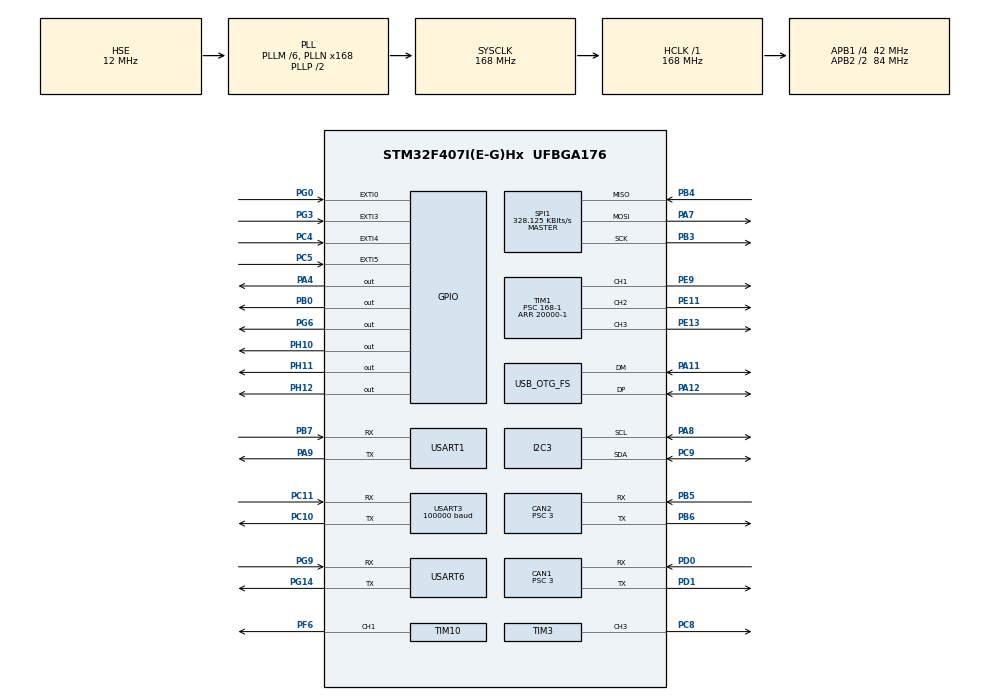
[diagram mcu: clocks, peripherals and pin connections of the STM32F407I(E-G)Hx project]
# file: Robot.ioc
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CAN1.BS1=CAN_BS1_10TQ
CAN1.BS2=CAN_BS2_3TQ
CAN1.CalculateBaudRate=1000000
CAN1.CalculateTimeBit=1000
CAN1.CalculateTimeQuantum=71.42857142857143
CAN1.Prescaler=3
CAN1.SJW=CAN_SJW_1TQ
CAN2.BS1=CAN_BS1_10TQ
CAN2.BS2=CAN_BS2_3TQ
CAN2.CalculateBaudRate=1000000
CAN2.CalculateTimeBit=1000
CAN2.CalculateTimeQuantum=71.42857142857143
CAN2.Prescaler=3
Dma.Request0=SPI1_RX
Dma.Request1=SPI1_TX
Dma.Request2=USART3_RX
Dma.Request3=USART6_RX
Dma.Request4=USART6_TX
Dma.Request5=USART1_TX
Dma.Request6=USART1_RX
Dma.SPI1_RX.0.Direction=DMA_PERIPH_TO_MEMORY
Dma.SPI1_RX.0.FIFOMode=DMA_FIFOMODE_DISABLE
Dma.SPI1_RX.0.Instance=DMA2_Stream2
Dma.SPI1_RX.0.MemDataAlignment=DMA_MDATAALIGN_BYTE
Dma.SPI1_RX.0.MemInc=DMA_MINC_ENABLE
Dma.SPI1_RX.0.Mode=DMA_NORMAL
Dma.SPI1_RX.0.PeriphDataAlignment=DMA_PDATAALIGN_BYTE
Dma.SPI1_RX.0.PeriphInc=DMA_PINC_DISABLE
Dma.SPI1_RX.0.Priority=DMA_PRIORITY_VERY_HIGH
Dma.SPI1_TX.1.Direction=DMA_MEMORY_TO_PERIPH
Dma.SPI1_TX.1.FIFOMode=DMA_FIFOMODE_DISABLE
Dma.SPI1_TX.1.Instance=DMA2_Stream3
Dma.SPI1_TX.1.MemDataAlignment=DMA_MDATAALIGN_BYTE
Dma.SPI1_TX.1.MemInc=DMA_MINC_ENABLE
Dma.SPI1_TX.1.Mode=DMA_NORMAL
Dma.SPI1_TX.1.PeriphDataAlignment=DMA_PDATAALIGN_BYTE
Dma.SPI1_TX.1.PeriphInc=DMA_PINC_DISABLE
Dma.SPI1_TX.1.Priority=DMA_PRIORITY_HIGH
Dma.USART1_RX.6.Direction=DMA_PERIPH_TO_MEMORY
Dma.USART1_RX.6.FIFOMode=DMA_FIFOMODE_DISABLE
Dma.USART1_RX.6.Instance=DMA2_Stream5
Dma.USART1_RX.6.MemDataAlignment=DMA_MDATAALIGN_BYTE
Dma.USART1_RX.6.MemInc=DMA_MINC_ENABLE
Dma.USART1_RX.6.Mode=DMA_NORMAL
Dma.USART1_RX.6.PeriphDataAlignment=DMA_PDATAALIGN_BYTE
Dma.USART1_RX.6.PeriphInc=DMA_PINC_DISABLE
Dma.USART1_RX.6.Priority=DMA_PRIORITY_HIGH
Dma.USART1_TX.5.Direction=DMA_MEMORY_TO_PERIPH
Dma.USART1_TX.5.FIFOMode=DMA_FIFOMODE_DISABLE
Dma.USART1_TX.5.Instance=DMA2_Stream7
Dma.USART1_TX.5.MemDataAlignment=DMA_MDATAALIGN_BYTE
Dma.USART1_TX.5.MemInc=DMA_MINC_ENABLE
Dma.USART1_TX.5.Mode=DMA_NORMAL
Dma.USART1_TX.5.PeriphDataAlignment=DMA_PDATAALIGN_BYTE
Dma.USART1_TX.5.PeriphInc=DMA_PINC_DISABLE
Dma.USART1_TX.5.Priority=DMA_PRIORITY_VERY_HIGH
Dma.USART3_RX.2.Direction=DMA_PERIPH_TO_MEMORY
Dma.USART3_RX.2.FIFOMode=DMA_FIFOMODE_DISABLE
Dma.USART3_RX.2.Instance=DMA1_Stream1
Dma.USART3_RX.2.MemDataAlignment=DMA_MDATAALIGN_BYTE
Dma.USART3_RX.2.MemInc=DMA_MINC_ENABLE
Dma.USART3_RX.2.Mode=DMA_NORMAL
Dma.USART3_RX.2.PeriphDataAlignment=DMA_PDATAALIGN_BYTE
Dma.USART3_RX.2.PeriphInc=DMA_PINC_DISABLE
Dma.USART3_RX.2.Priority=DMA_PRIORITY_LOW
Dma.USART6_RX.3.Direction=DMA_PERIPH_TO_MEMORY
Dma.USART6_RX.3.FIFOMode=DMA_FIFOMODE_DISABLE
Dma.USART6_RX.3.Instance=DMA2_Stream1
Dma.USART6_RX.3.MemDataAlignment=DMA_MDATAALIGN_BYTE
Dma.USART6_RX.3.MemInc=DMA_MINC_ENABLE
Dma.USART6_RX.3.Mode=DMA_NORMAL
Dma.USART6_RX.3.PeriphDataAlignment=DMA_PDATAALIGN_BYTE
Dma.USART6_RX.3.PeriphInc=DMA_PINC_DISABLE
Dma.USART6_RX.3.Priority=DMA_PRIORITY_HIGH
Dma.USART6_TX.4.Direction=DMA_MEMORY_TO_PERIPH
Dma.USART6_TX.4.FIFOMode=DMA_FIFOMODE_DISABLE
Dma.USART6_TX.4.Instance=DMA2_Stream6
Dma.USART6_TX.4.MemDataAlignment=DMA_MDATAALIGN_BYTE
Dma.USART6_TX.4.MemInc=DMA_MINC_ENABLE
Dma.USART6_TX.4.Mode=DMA_NORMAL
Dma.USART6_TX.4.PeriphDataAlignment=DMA_PDATAALIGN_BYTE
Dma.USART6_TX.4.PeriphInc=DMA_PINC_DISABLE
Dma.USART6_TX.4.Priority=DMA_PRIORITY_VERY_HIGH
FREERTOS.INCLUDE_eTaskGetState=1
FREERTOS.INCLUDE_pcTaskGetTaskName=1
FREERTOS.INCLUDE_uxTaskGetStackHighWaterMark=1
FREERTOS.INCLUDE_vTaskCleanUpResources=1
FREERTOS.INCLUDE_vTaskDelayUntil=1
FREERTOS.INCLUDE_xEventGroupSetBitFromISR=1
FREERTOS.INCLUDE_xQueueGetMutexHolder=1
FREERTOS.INCLUDE_xSemaphoreGetMutexHolder=1
FREERTOS.INCLUDE_xTaskAbortDelay=1
FREERTOS.INCLUDE_xTaskGetCurrentTaskHandle=1
FREERTOS.INCLUDE_xTaskGetHandle=1
FREERTOS.INCLUDE_xTimerPendFunctionCall=1
FREERTOS.Tasks01=INS_TASK,3,512,INS_Task,As weak,NULL,Dynamic,NULL,NULL;LED_TASK,0,128,LED_Task,As weak,NULL,Dynamic,NULL,NULL;Gimbal_TASK,2,512,Gimbal_Task,As weak,NULL,Dynamic,NULL,NULL;SWITCH_TASK,0,128,Switch_Task,As weak,NULL,Dynamic,NULL,NULL
FREERTOS.configTOTAL_HEAP_SIZE=24576
FREERTOS.configUSE_TIMERS=1
I2C3.I2C_Mode=I2C_Fast
Mcu.Family=STM32F4
Mcu.Name=STM32F407I(E-G)Hx
Mcu.Package=UFBGA176
NVIC.CAN1_RX0_IRQn=true\:5\:0\:false\:false\:true\:true\:true\:true\:true
NVIC.CAN2_RX0_IRQn=true\:5\:0\:false\:false\:true\:true\:true\:true\:true
NVIC.DMA1_Stream1_IRQn=true\:5\:0\:false\:false\:true\:true\:false\:true\:true
NVIC.DMA2_Stream1_IRQn=true\:5\:0\:false\:false\:true\:true\:false\:true\:true
NVIC.DMA2_Stream2_IRQn=true\:5\:0\:false\:false\:true\:true\:false\:true\:true
NVIC.DMA2_Stream3_IRQn=true\:5\:0\:false\:false\:true\:true\:false\:true\:true
NVIC.DMA2_Stream5_IRQn=true\:5\:0\:false\:false\:true\:true\:false\:true\:true
NVIC.DMA2_Stream6_IRQn=true\:5\:0\:false\:false\:true\:true\:false\:true\:true
NVIC.DMA2_Stream7_IRQn=true\:5\:0\:false\:false\:true\:true\:false\:true\:true
NVIC.EXTI0_IRQn=true\:5\:0\:false\:false\:true\:true\:true\:true\:true
NVIC.EXTI3_IRQn=true\:5\:0\:false\:false\:true\:true\:true\:true\:true
NVIC.EXTI4_IRQn=true\:5\:0\:false\:false\:true\:true\:true\:true\:true
NVIC.EXTI9_5_IRQn=true\:5\:0\:false\:false\:true\:true\:true\:true\:true
NVIC.OTG_FS_IRQn=true\:5\:0\:false\:false\:true\:true\:false\:true\:true
NVIC.PriorityGroup=NVIC_PRIORITYGROUP_4
NVIC.TIM2_IRQn=true\:15\:0\:false\:false\:true\:false\:false\:true\:true
NVIC.TIM8_TRG_COM_TIM14_IRQn=true\:5\:0\:false\:false\:true\:true\:true\:true\:true
NVIC.TimeBase=TIM2_IRQn
NVIC.TimeBaseIP=TIM2
NVIC.USART1_IRQn=true\:5\:0\:false\:false\:true\:true\:true\:true\:true
NVIC.USART3_IRQn=true\:5\:0\:false\:false\:true\:true\:true\:true\:true
NVIC.USART6_IRQn=true\:5\:0\:false\:false\:true\:true\:true\:true\:true
PA11.Mode=Device_Only
PA11.Signal=USB_OTG_FS_DM
PA12.Mode=Device_Only
PA12.Signal=USB_OTG_FS_DP
PA13.Mode=Serial_Wire
PA13.Signal=SYS_JTMS-SWDIO
PA14.Mode=Serial_Wire
PA14.Signal=SYS_JTCK-SWCLK
PA4.GPIO_PuPd=GPIO_PULLUP
PA4.GPIO_Speed=GPIO_SPEED_FREQ_HIGH
PA4.PinState=GPIO_PIN_SET
PA4.Signal=GPIO_Output
PA7.GPIO_Mode=GPIO_MODE_AF_PP
PA7.GPIO_PuPd=GPIO_PULLUP
PA7.GPIO_Speed=GPIO_SPEED_FREQ_VERY_HIGH
PA7.Mode=Full_Duplex_Master
PA7.Signal=SPI1_MOSI
PA8.GPIO_Mode=GPIO_MODE_AF_OD
PA8.GPIO_Pu=GPIO_PULLUP
PA8.GPIO_Speed=GPIO_SPEED_FREQ_VERY_HIGH
PA8.Mode=I2C
PA8.Signal=I2C3_SCL
PA9.Mode=Asynchronous
PA9.Signal=USART1_TX
PB0.GPIO_ModeDefaultOutputPP=GPIO_MODE_OUTPUT_PP
PB0.GPIO_PuPd=GPIO_PULLUP
PB0.GPIO_Speed=GPIO_SPEED_FREQ_HIGH
PB0.PinState=GPIO_PIN_SET
PB0.Signal=GPIO_Output
PB14.GPIO_ModeDefaultPP=GPIO_MODE_AF_PP
PB14.GPIO_PuPd=GPIO_PULLUP
PB14.GPIO_Speed=GPIO_SPEED_FREQ_VERY_HIGH
PB14.Signal=S_TIM12_CH1
PB15.GPIO_ModeDefaultPP=GPIO_MODE_AF_PP
PB15.GPIO_PuPd=GPIO_PULLUP
PB15.GPIO_Speed=GPIO_SPEED_FREQ_VERY_HIGH
PB15.Signal=S_TIM12_CH2
PB3.GPIO_Mode=GPIO_MODE_AF_PP
PB3.GPIO_PuPd=GPIO_PULLUP
PB3.GPIO_Speed=GPIO_SPEED_FREQ_VERY_HIGH
PB3.Mode=Full_Duplex_Master
PB3.Signal=SPI1_SCK
PB4.GPIO_Mode=GPIO_MODE_AF_PP
PB4.GPIO_PuPd=GPIO_PULLUP
PB4.GPIO_Speed=GPIO_SPEED_FREQ_VERY_HIGH
PB4.Mode=Full_Duplex_Master
PB4.Signal=SPI1_MISO
PB5.Mode=CAN_Activate
PB5.Signal=CAN2_RX
PB6.Mode=CAN_Activate
PB6.Signal=CAN2_TX
PB7.Mode=Asynchronous
PB7.Signal=USART1_RX
PC10.GPIO_ModeDefaultPP=GPIO_MODE_AF_PP
PC10.GPIO_PuPd=GPIO_PULLUP
PC10.GPIO_Speed=GPIO_SPEED_FREQ_VERY_HIGH
PC10.Mode=Asynchronous
PC10.Signal=USART3_TX
PC11.GPIO_ModeDefaultPP=GPIO_MODE_AF_PP
PC11.GPIO_PuPd=GPIO_PULLUP
PC11.GPIO_Speed=GPIO_SPEED_FREQ_VERY_HIGH
PC11.Mode=Asynchronous
PC11.Signal=USART3_RX
PC4.GPIO_ModeDefaultEXTI=GPIO_MODE_IT_FALLING
PC4.GPIO_PuPd=GPIO_PULLUP
PC4.Signal=GPXTI4
PC5.GPIO_ModeDefaultEXTI=GPIO_MODE_IT_FALLING
PC5.GPIO_PuPd=GPIO_PULLUP
PC5.Signal=GPXTI5
PC8.GPIO_ModeDefaultPP=GPIO_MODE_AF_PP
PC8.GPIO_PuPd=GPIO_PULLUP
PC8.GPIO_Speed=GPIO_SPEED_FREQ_VERY_HIGH
PC8.Signal=S_TIM3_CH3
PC9.GPIO_Mode=GPIO_MODE_AF_OD
PC9.GPIO_Pu=GPIO_PULLUP
PC9.GPIO_Speed=GPIO_SPEED_FREQ_VERY_HIGH
PC9.Mode=I2C
PC9.Signal=I2C3_SDA
PD0.Mode=CAN_Activate
PD0.Signal=CAN1_RX
PD1.Mode=CAN_Activate
PD1.Signal=CAN1_TX
PE11.GPIO_ModeDefaultPP=GPIO_MODE_AF_PP
PE11.GPIO_PuPd=GPIO_PULLUP
PE11.GPIO_Speed=GPIO_SPEED_FREQ_VERY_HIGH
PE11.Signal=S_TIM1_CH2
PE13.GPIO_PuPd=GPIO_PULLUP
PE13.GPIO_Speed=GPIO_SPEED_FREQ_VERY_HIGH
PE13.Signal=S_TIM1_CH3
PE9.GPIO_ModeDefaultPP=GPIO_MODE_AF_PP
PE9.GPIO_PuPd=GPIO_PULLUP
PE9.GPIO_Speed=GPIO_SPEED_FREQ_VERY_HIGH
PE9.Signal=S_TIM1_CH1
PF6.GPIO_PuPd=GPIO_PULLUP
PF6.GPIO_Speed=GPIO_SPEED_FREQ_VERY_HIGH
PF6.Signal=S_TIM10_CH1
PG0.GPIO_ModeDefaultEXTI=GPIO_MODE_IT_FALLING
PG0.GPIO_PuPd=GPIO_PULLUP
PG0.Signal=GPXTI0
PG14.GPIO_ModeDefaultPP=GPIO_MODE_AF_PP
PG14.GPIO_PuPd=GPIO_PULLUP
PG14.GPIO_Speed=GPIO_SPEED_FREQ_VERY_HIGH
PG14.Mode=Asynchronous
PG14.Signal=USART6_TX
PG3.GPIO_ModeDefaultEXTI=GPIO_MODE_IT_FALLING
PG3.GPIO_PuPd=GPIO_PULLUP
PG3.Signal=GPXTI3
PG6.GPIO_ModeDefaultOutputPP=GPIO_MODE_OUTPUT_PP
PG6.GPIO_PuPd=GPIO_PULLUP
PG6.GPIO_Speed=GPIO_SPEED_FREQ_HIGH
PG6.PinState=GPIO_PIN_SET
PG6.Signal=GPIO_Output
PG9.GPIO_ModeDefaultPP=GPIO_MODE_AF_PP
PG9.GPIO_PuPd=GPIO_PULLUP
PG9.GPIO_Speed=GPIO_SPEED_FREQ_VERY_HIGH
PG9.Mode=Asynchronous
PG9.Signal=USART6_RX
PH0-OSC_IN.Mode=HSE-External-Oscillator
PH0-OSC_IN.Signal=RCC_OSC_IN
PH1-OSC_OUT.Mode=HSE-External-Oscillator
PH1-OSC_OUT.Signal=RCC_OSC_OUT
PH10.GPIO_ModeDefaultOutputPP=GPIO_MODE_OUTPUT_PP
PH10.GPIO_PuPd=GPIO_PULLDOWN
PH10.GPIO_Speed=GPIO_SPEED_FREQ_VERY_HIGH
PH10.PinState=GPIO_PIN_RESET
PH10.Signal=GPIO_Output
PH11.GPIO_ModeDefaultOutputPP=GPIO_MODE_OUTPUT_PP
PH11.GPIO_PuPd=GPIO_PULLDOWN
PH11.GPIO_Speed=GPIO_SPEED_FREQ_VERY_HIGH
PH11.PinState=GPIO_PIN_RESET
PH11.Signal=GPIO_Output
PH12.GPIO_ModeDefaultOutputPP=GPIO_MODE_OUTPUT_PP
PH12.GPIO_PuPd=GPIO_PULLDOWN
PH12.GPIO_Speed=GPIO_SPEED_FREQ_VERY_HIGH
PH12.PinState=GPIO_PIN_RESET
PH12.Signal=GPIO_Output
ProjectManager.HeapSize=0x2000
ProjectManager.StackSize=0x2000
ProjectManager.TargetToolchain=MDK-ARM V5
RCC.48MHZClocksFreq_Value=48000000
RCC.AHBFreq_Value=168000000
RCC.APB1CLKDivider=RCC_HCLK_DIV4
RCC.APB1Freq_Value=42000000
RCC.APB1TimFreq_Value=84000000
RCC.APB2CLKDivider=RCC_HCLK_DIV2
RCC.APB2Freq_Value=84000000
RCC.APB2TimFreq_Value=168000000
RCC.CortexFreq_Value=168000000
RCC.HCLKFreq_Value=168000000
RCC.HSE_VALUE=12000000
RCC.HSI_VALUE=16000000
RCC.LSE_VALUE=32768
RCC.PLLM=6
RCC.PLLN=168
RCC.PLLQ=7
RCC.SYSCLKFreq_VALUE=168000000
RCC.SYSCLKSource=RCC_SYSCLKSOURCE_PLLCLK
RCC.VCOOutputFreq_Value=336000000
SH.S_TIM10_CH1.0=TIM10_CH1,PWM Generation1 CH1
SH.S_TIM12_CH1.0=TIM12_CH1
SH.S_TIM12_CH2.0=TIM12_CH2
SH.S_TIM1_CH1.0=TIM1_CH1,PWM Generation1 CH1
SH.S_TIM1_CH2.0=TIM1_CH2,PWM Generation2 CH2
SH.S_TIM1_CH3.0=TIM1_CH3,PWM Generation3 CH3
SH.S_TIM3_CH3.0=TIM3_CH3,PWM Generation3 CH3
SPI1.BaudRatePrescaler=SPI_BAUDRATEPRESCALER_256
SPI1.CLKPhase=SPI_PHASE_2EDGE
SPI1.CLKPolarity=SPI_POLARITY_HIGH
SPI1.CalculateBaudRate=328.125 KBits/s
SPI1.Direction=SPI_DIRECTION_2LINES
SPI1.Mode=SPI_MODE_MASTER
SPI1.VirtualType=VM_MASTER
TIM1.AutoReloadPreload=TIM_AUTORELOAD_PRELOAD_DISABLE
TIM1.Channel-PWM\ Generation1\ CH1=TIM_CHANNEL_1
TIM1.Channel-PWM\ Generation2\ CH2=TIM_CHANNEL_2
TIM1.Channel-PWM\ Generation3\ CH3=TIM_CHANNEL_3
TIM1.Period=20000-1
TIM1.Prescaler=168-1
TIM10.Channel=TIM_CHANNEL_1
TIM10.Period=4999
TIM14.Period=2000-1
TIM14.Prescaler=84-1
TIM3.Channel-PWM\ Generation3\ CH3=TIM_CHANNEL_3
TIM3.Period=1000-1
TIM3.Prescaler=84-1
USART1.VirtualMode=VM_ASYNC
USART3.BaudRate=100000
USART3.VirtualMode=VM_ASYNC
USART6.VirtualMode=VM_ASYNC
USB_DEVICE.CLASS_NAME_FS=CDC
USB_DEVICE.VirtualMode-CDC_FS=Cdc
USB_DEVICE.VirtualModeFS=Cdc_FS
USB_OTG_FS.VirtualMode=Device_Only
VP_CRC_VS_CRC.Mode=CRC_Activate
VP_FREERTOS_VS_CMSIS_V1.Mode=CMSIS_V1
VP_SYS_VS_tim2.Mode=TIM2
VP_TIM10_VS_ClockSourceINT.Mode=Enable_Timer
VP_TIM14_VS_ClockSourceINT.Mode=Enable_Timer
VP_TIM3_VS_ClockSourceINT.Mode=Internal
VP_USB_DEVICE_VS_USB_DEVICE_CDC_FS.Mode=CDC_FS
board=custom

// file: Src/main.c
/* USER CODE BEGIN Header */
/**
  ******************************************************************************
  * @file           : main.c
  * @brief          : Main program body
  ******************************************************************************
  * @attention
  *
  * <h2><center>&copy; Copyright (c) 2021 STMicroelectronics.
  * All rights reserved.</center></h2>
  *
  * This software component is licensed by ST under Ultimate Liberty license
  * SLA0044, the "License"; You may not use this file except in compliance with
  * the License. You may obtain a copy of the License at:
  *                             www.st.com/SLA0044
  *
  ******************************************************************************
  */
/* USER CODE END Header */
#include "main.h"
#include "cmsis_os.h"
#include "can.h"
#include "crc.h"
#include "dma.h"
#include "i2c.h"
#include "spi.h"
#include "tim.h"
#include "usart.h"
#include "usb_device.h"
#include "gpio.h"

/* USER CODE BEGIN Includes */
#include "bsp_delay.h"
#include "remote_control.h"
#include "bsp_can.h"
#include "bsp_tim.h"
#include "referee.h"
#include "referee_usart_task.h"
#include "DM9015.h"
/* USER CODE END Includes */

void SystemClock_Config(void);
void MX_FREERTOS_Init(void);

/* USER CODE BEGIN 0 */
#define usart6_RX_BUFF_SIZE 128
#define DMA_UsART6_SIZE 128
uint8_t usart3_rx_data[usart6_RX_BUFF_SIZE];
extern UART_HandleTypeDef huart3;
extern DMA_HandleTypeDef hdma_usart6_rx;
extern DMA_HandleTypeDef hdma_usart6_tx;

//void HAL_UART_RxCpltCallback(UART_HandleTypeDef *huart)
//{
//		__HAL_UART_CLEAR_IDLEFLAG(&huart6);
//		HAL_UART_DMAStop(&huart6);                                        //停止本次DMA传输
//		uint8_t data_length  = DMA_UsART6_SIZE - __HAL_DMA_GET_COUNTER(&hdma_usart6_tx);   //计算接收到的数据长度
////		process_judge_message( usart3_rx_data );
//		memset(usart3_rx_data,0,data_length);                                            //清零接收缓冲区
//		HAL_UART_Receive_DMA(&huart3, usart3_rx_data, DMA_UsART6_SIZE);                    //重启开始DMA传输 每次255字节数据
//}
/* USER CODE END 0 */

int main(void)
{

  /* MCU Configuration--------------------------------------------------------*/

  /* Reset of all peripherals, Initializes the Flash interface and the Systick. */
  HAL_Init();

  /* Configure the system clock */
  SystemClock_Config();

  /* USER CODE BEGIN SysInit */
  delay_init();
  HAL_Delay(300);
  /* USER CODE END SysInit */

  /* Initialize all configured peripherals */
  MX_GPIO_Init();
//  delay_init();
//  delay_ms(100);
  MX_DMA_Init();
  MX_I2C3_Init();
  MX_SPI1_Init();
  MX_TIM10_Init();
  MX_USART3_UART_Init();
  MX_CAN1_Init();
  MX_CAN2_Init();
  MX_TIM3_Init();
  MX_TIM14_Init();
  MX_USART6_UART_Init();
  MX_USART1_UART_Init();
  MX_TIM1_Init();
  MX_CRC_Init();
  /* USER CODE BEGIN 2 */
	MX_USB_DEVICE_Init();
	HAL_TIM_Base_Start_IT(&htim14);

	can_filter_init();

	remote_control_init();
	DM9015_usart_init(DM9015_rx_buf[0],DM9015_rx_buf[1],DM9015_RX_BUF_NUM);
	fifo_s_init(&Referee_FIFO, Referee_FIFO_Buffer, REFEREE_FIFO_BUF_LENGTH);
	Referee_StructInit();
	Referee_UARTInit(Referee_Buffer[0], Referee_Buffer[1], REFEREE_USART_RX_BUF_LENGHT);
  /* USER CODE END 2 */

  /* Call init function for freertos objects (in freertos.c) */
  MX_FREERTOS_Init();

  /* Start scheduler */
  osKernelStart();

  /* We should never get here as control is now taken by the scheduler */
  /* Infinite loop */
  while (1)
  {

  }
}

void SystemClock_Config(void)
{
  RCC_OscInitTypeDef RCC_OscInitStruct = {0};
  RCC_ClkInitTypeDef RCC_ClkInitStruct = {0};

  /** Configure the main internal regulator output voltage
  */
  __HAL_RCC_PWR_CLK_ENABLE();
  __HAL_PWR_VOLTAGESCALING_CONFIG(PWR_REGULATOR_VOLTAGE_SCALE1);

  /** Initializes the RCC Oscillators according to the specified parameters
  * in the RCC_OscInitTypeDef structure.
  */
  RCC_OscInitStruct.OscillatorType = RCC_OSCILLATORTYPE_HSE;
  RCC_OscInitStruct.HSEState = RCC_HSE_ON;
  RCC_OscInitStruct.PLL.PLLState = RCC_PLL_ON;
  RCC_OscInitStruct.PLL.PLLSource = RCC_PLLSOURCE_HSE;
  RCC_OscInitStruct.PLL.PLLM = 6;
  RCC_OscInitStruct.PLL.PLLN = 168;
  RCC_OscInitStruct.PLL.PLLP = RCC_PLLP_DIV2;
  RCC_OscInitStruct.PLL.PLLQ = 7;
  if (HAL_RCC_OscConfig(&RCC_OscInitStruct) != HAL_OK)
  {
    Error_Handler();
  }

  /** Initializes the CPU, AHB and APB buses clocks
  */
  RCC_ClkInitStruct.ClockType = RCC_CLOCKTYPE_HCLK|RCC_CLOCKTYPE_SYSCLK
                              |RCC_CLOCKTYPE_PCLK1|RCC_CLOCKTYPE_PCLK2;
  RCC_ClkInitStruct.SYSCLKSource = RCC_SYSCLKSOURCE_PLLCLK;
  RCC_ClkInitStruct.AHBCLKDivider = RCC_SYSCLK_DIV1;
  RCC_ClkInitStruct.APB1CLKDivider = RCC_HCLK_DIV4;
  RCC_ClkInitStruct.APB2CLKDivider = RCC_HCLK_DIV2;

  if (HAL_RCC_ClockConfig(&RCC_ClkInitStruct, FLASH_LATENCY_5) != HAL_OK)
  {
    Error_Handler();
  }
}

/* USER CODE BEGIN 4 */
//extern DMA_HandleTypeDef hdma_usart3_tx;
//uint8_t usart3_rx_data[usart3_RX_BUFF_SIZE];

//void HAL_UART_RxCpltCallback(UART_HandleTypeDef *huart)
//{
//		__HAL_UART_CLEAR_IDLEFLAG(&huart3);
//		HAL_UART_DMAStop(&huart3);                                        //停止本次DMA传输
//		uint8_t data_length  = DMA_UsART3_SIZE - __HAL_DMA_GET_COUNTER(&hdma_usart3_tx);   //计算接收到的数据长度
//		process_judge_message( usart3_rx_data );
//		memset(usart3_rx_data,0,data_length);                                            //清零接收缓冲区

/* USER CODE END 4 */

void HAL_TIM_PeriodElapsedCallback(TIM_HandleTypeDef *htim)
{
  if (htim->Instance == TIM2) {
    HAL_IncTick();
  }
}

void Error_Handler(void)
{
  __disable_irq();
  while (1)
  {
  }
}

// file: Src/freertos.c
/* USER CODE BEGIN Header */
/**
  ******************************************************************************
  * File Name          : freertos.c
  * Description        : Code for freertos applications
  ******************************************************************************
  * @attention
  *
  * <h2><center>&copy; Copyright (c) 2021 STMicroelectronics.
  * All rights reserved.</center></h2>
  *
  * This software component is licensed by ST under Ultimate Liberty license
  * SLA0044, the "License"; You may not use this file except in compliance with
  * the License. You may obtain a copy of the License at:
  *                             www.st.com/SLA0044
  *
  ******************************************************************************
  */
/* USER CODE END Header */

#include "FreeRTOS.h"
#include "task.h"
#include "main.h"
#include "cmsis_os.h"

/* USER CODE BEGIN Includes */
#include "INS_task.h"
#include "LED_Task.h"
#include "Gimbal_Task.h"
/* USER CODE END Includes */

/* USER CODE BEGIN Variables */
osThreadId ChassisControl_TaskHandle;
osThreadId ChassisDetect_TaskHandle;
osThreadId ChassisSwitch_TaskHandle;
osThreadId SlideBlock_TaskHandle;
osThreadId referee_usartHandle;
/* USER CODE END Variables */
osThreadId INS_TASKHandle;
osThreadId LED_TASKHandle;
osThreadId Gimbal_TASKHandle;
osThreadId SWITCH_TASKHandle;

/* USER CODE BEGIN FunctionPrototypes */
void ChassisControl_Task(void const * argument);
void ChassisDetect_Task(void const * argument);
void ChassisSwitch_Task(void const * argument);
void SlideBlock_Task(void const * argument);
void referee_usart_task(void const * argument);
/* USER CODE END FunctionPrototypes */

void INS_Task(void const * argument);
void LED_Task(void const * argument);
void Gimbal_Task(void const * argument);
void Switch_Task(void const * argument);

extern void MX_USB_DEVICE_Init(void);
void MX_FREERTOS_Init(void); /* (MISRA C 2004 rule 8.1) */

/* GetIdleTaskMemory prototype (linked to static allocation support) */
void vApplicationGetIdleTaskMemory( StaticTask_t **ppxIdleTaskTCBBuffer, StackType_t **ppxIdleTaskStackBuffer, uint32_t *pulIdleTaskStackSize );

/* GetTimerTaskMemory prototype (linked to static allocation support) */
void vApplicationGetTimerTaskMemory( StaticTask_t **ppxTimerTaskTCBBuffer, StackType_t **ppxTimerTaskStackBuffer, uint32_t *pulTimerTaskStackSize );

/* USER CODE BEGIN GET_IDLE_TASK_MEMORY */
static StaticTask_t xIdleTaskTCBBuffer;
static StackType_t xIdleStack[configMINIMAL_STACK_SIZE];

void vApplicationGetIdleTaskMemory( StaticTask_t **ppxIdleTaskTCBBuffer, StackType_t **ppxIdleTaskStackBuffer, uint32_t *pulIdleTaskStackSize )
{
  *ppxIdleTaskTCBBuffer = &xIdleTaskTCBBuffer;
  *ppxIdleTaskStackBuffer = &xIdleStack[0];
  *pulIdleTaskStackSize = configMINIMAL_STACK_SIZE;
  /* place for user code */
}
/* USER CODE END GET_IDLE_TASK_MEMORY */

/* USER CODE BEGIN GET_TIMER_TASK_MEMORY */
static StaticTask_t xTimerTaskTCBBuffer;
static StackType_t xTimerStack[configTIMER_TASK_STACK_DEPTH];

void vApplicationGetTimerTaskMemory( StaticTask_t **ppxTimerTaskTCBBuffer, StackType_t **ppxTimerTaskStackBuffer, uint32_t *pulTimerTaskStackSize )
{
  *ppxTimerTaskTCBBuffer = &xTimerTaskTCBBuffer;
  *ppxTimerTaskStackBuffer = &xTimerStack[0];
  *pulTimerTaskStackSize = configTIMER_TASK_STACK_DEPTH;
  /* place for user code */
}
/* USER CODE END GET_TIMER_TASK_MEMORY */

void MX_FREERTOS_Init(void) {

  /* Create the thread(s) */
  /* definition and creation of INS_TASK */
  osThreadDef(INS_TASK, INS_Task, osPriorityRealtime, 0, 512);
  INS_TASKHandle = osThreadCreate(osThread(INS_TASK), NULL);

  /* definition and creation of LED_TASK */
  osThreadDef(LED_TASK, LED_Task, osPriorityNormal, 0, 128);
  LED_TASKHandle = osThreadCreate(osThread(LED_TASK), NULL);

  /* definition and creation of Gimbal_TASK */
  osThreadDef(Gimbal_TASK, Gimbal_Task, osPriorityHigh, 0, 512);
  Gimbal_TASKHandle = osThreadCreate(osThread(Gimbal_TASK), NULL);

  /* definition and creation of SWITCH_TASK */
  osThreadDef(SWITCH_TASK, Switch_Task, osPriorityNormal, 0, 128);
  SWITCH_TASKHandle = osThreadCreate(osThread(SWITCH_TASK), NULL);

  /* USER CODE BEGIN RTOS_THREADS */
  /* add threads, ... */
	osThreadDef(ChassisControl, ChassisControl_Task, osPriorityNormal, 0, 256);
  ChassisControl_TaskHandle = osThreadCreate(osThread(ChassisControl), NULL);

	osThreadDef(ChassisDetect, ChassisDetect_Task, osPriorityBelowNormal, 0, 256);
  ChassisDetect_TaskHandle = osThreadCreate(osThread(ChassisDetect), NULL);

	osThreadDef(ChassisSwitch, ChassisSwitch_Task, osPriorityNormal, 0, 256);
  ChassisSwitch_TaskHandle = osThreadCreate(osThread(ChassisSwitch), NULL);

  osThreadDef(referee_usart, referee_usart_task, osPriorityAboveNormal, 0, 256);
  referee_usartHandle = osThreadCreate(osThread(referee_usart), NULL);

	osThreadDef(SlideBlock, SlideBlock_Task, osPriorityNormal, 0, 256);
  SlideBlock_TaskHandle = osThreadCreate(osThread(SlideBlock), NULL);
/* USER CODE END RTOS_THREADS */

}

__weak void INS_Task(void const * argument)
{
  /* init code for USB_DEVICE */
  MX_USB_DEVICE_Init();
  for(;;)
  {
    osDelay(1);
  }
}

__weak void LED_Task(void const * argument)
{
  /* USER CODE BEGIN LED_Task */
  /* Infinite loop */
  for(;;)
  {
    vTaskDelay(2);
  }
  /* USER CODE END LED_Task */
}

__weak void Gimbal_Task(void const * argument)
{
  /* USER CODE BEGIN Gimbal_Task */
	vTaskDelete(Gimbal_TASKHandle);
  /* Infinite loop */
  for(;;)
  {
    osDelay(1);
  }
  /* USER CODE END Gimbal_Task */
}

__weak void Switch_Task(void const * argument)
{
  /* USER CODE BEGIN Switch_Task */
	vTaskDelete(SWITCH_TASKHandle);
  /* Infinite loop */
  for(;;)
  {
    osDelay(1);
  }
  /* USER CODE END Switch_Task */
}
